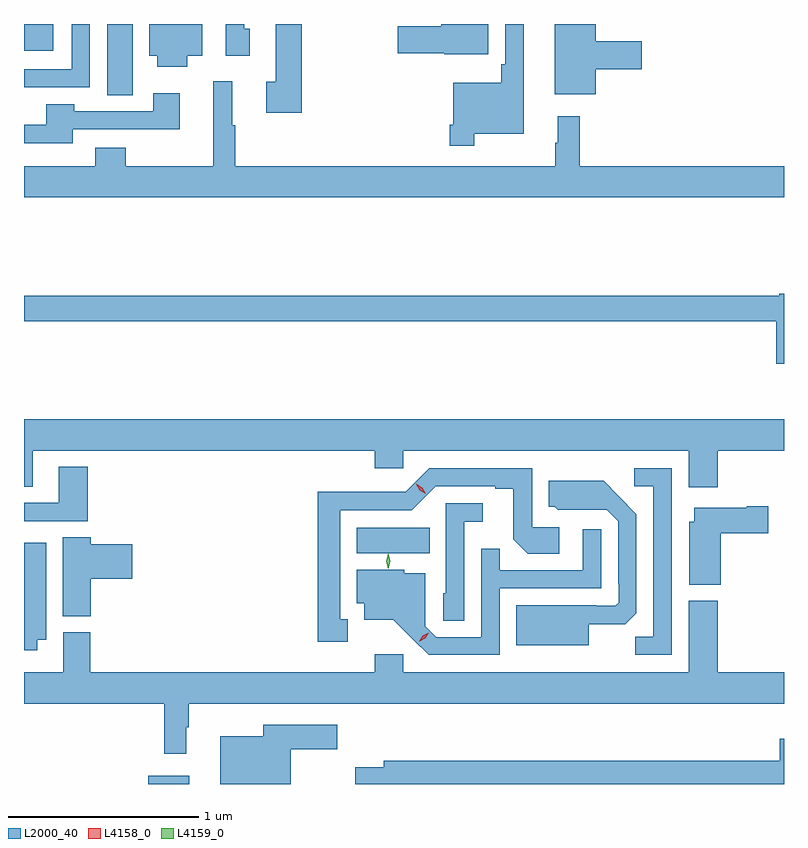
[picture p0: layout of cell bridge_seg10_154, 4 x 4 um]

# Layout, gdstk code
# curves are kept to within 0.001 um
import gdstk
lib = gdstk.Library(unit=1e-6, precision=1e-09)
def R(c, l, rs):  # rectangles x0, y0, x1, y1
    for r in rs: c.add(gdstk.rectangle(r[:2], r[2:], *l))
def P(c, l, *ps):  # polygons
    for p in ps: c.add(gdstk.Polygon(p, *l))
L2000_40 = (2000, 40)
L4158_0 = (4158, 0)
L4159_0 = (4159, 0)

bridge_seg10_154 = lib.new_cell('bridge_seg10_154')
R(bridge_seg10_154, L2000_40, [(255.488,1305.221,255.703,1305.265), (256.586,1306.436,256.97,1306.57), (255.272,1308.847,255.406,1309.221), (254.834,1309.079,254.989,1309.221)])
P(bridge_seg10_154, L2000_40, [(256.021,1309.197),(255.993,1309.197),(255.993,1309.221),(255.897,1309.221),(255.897,1309.053),(256.021,1309.053)],
  [(255.18,1309.221),(255.084,1309.221),(255.084,1308.984),(254.834,1308.984),(254.834,1308.888),(255.18,1308.888)],
  [(255.694,1309.055),(255.772,1309.055),(255.772,1309.221),(255.494,1309.221),(255.494,1309.055),(255.536,1309.055),(255.536,1308.995),(255.694,1308.995)],
  [(256.295,1309.221),(256.16,1309.221),(256.16,1308.918),(256.109,1308.918),(256.109,1308.755),(256.295,1308.755)],
  [(257.842,1308.983),(258.085,1308.983),(258.085,1309.13),(257.842,1309.13),(257.842,1309.221),(257.627,1309.221),(257.627,1308.851),(257.842,1308.851)],
  [(257.203,1308.644),(257.464,1308.644),(257.464,1309.221),(257.367,1309.221),(257.367,1309.009),(257.347,1309.009),(257.347,1308.913),(257.094,1308.913),(257.094,1308.691),(257.074,1308.691),(257.074,1308.579),(257.203,1308.579)],
  [(257.278,1309.221),(257.029,1309.221),(257.029,1309.209),(256.8,1309.209),(256.8,1309.067),(257.046,1309.067),(257.046,1309.061),(257.278,1309.061)],
  [(258.834,1308.472),(257.759,1308.472),(257.759,1308.736),(257.642,1308.736),(257.642,1308.596),(257.631,1308.596),(257.631,1308.472),(255.947,1308.472),(255.947,1308.687),(255.929,1308.687),(255.929,1308.919),(255.83,1308.919),(255.83,1308.472),(255.369,1308.472),(255.369,1308.571),(255.209,1308.571),(255.209,1308.472),(254.834,1308.472),(254.834,1308.308),(258.834,1308.308)],
  [(255.091,1308.666),(255.655,1308.666),(255.655,1308.856),(255.515,1308.856),(255.515,1308.762),(255.099,1308.762),(255.099,1308.799),(254.951,1308.799),(254.951,1308.69),(254.834,1308.69),(254.834,1308.594),(255.091,1308.594)],
  [(258.834,1307.8),(258.81,1307.8),(258.81,1307.792),(254.834,1307.792),(254.834,1307.656),(258.794,1307.656),(258.794,1307.433),(258.834,1307.433)],
  [(258.485,1306.976),(258.834,1306.976),(258.834,1307.14),(254.834,1307.14),(254.834,1306.786),(254.881,1306.786),(254.881,1306.976),(256.679,1306.976),(256.679,1306.883),(256.83,1306.883),(256.83,1306.976),(258.332,1306.976),(258.332,1306.782),(258.485,1306.782)],
  [(255.17,1306.891),(255.017,1306.891),(255.017,1306.701),(254.834,1306.701),(254.834,1306.605),(255.17,1306.605)],
  [(256.537,1306.089),(256.498,1306.089),(256.498,1306.662),(256.875,1306.662),(257.001,1306.788),(257.315,1306.788),(257.315,1306.776),(257.409,1306.776),(257.409,1306.508),(257.485,1306.432),(257.65,1306.432),(257.65,1306.572),(257.508,1306.572),(257.508,1306.884),(256.968,1306.884),(256.842,1306.758),(256.62,1306.758),(256.62,1306.76),(256.38,1306.76),(256.38,1305.969),(256.537,1305.969)],
  [(258.243,1306.884),(258.045,1306.884),(258.045,1306.788),(258.147,1306.788),(258.147,1305.995),(258.052,1305.995),(258.052,1305.9),(258.243,1305.9)],
  [(257.806,1306.061),(257.998,1306.061),(258.057,1306.12),(258.057,1306.642),(257.885,1306.816),(257.597,1306.816),(257.597,1306.68),(257.628,1306.68),(257.644,1306.664),(257.901,1306.665),(257.961,1306.605),(257.961,1306.276),(257.964,1306.276),(257.964,1306.176),(257.946,1306.158),(257.846,1306.158),(257.846,1306.162),(257.426,1306.162),(257.426,1305.95),(257.806,1305.95)],
  [(257.151,1306.601),(257.248,1306.601),(257.248,1306.698),(257.055,1306.698),(257.055,1306.224),(257.04,1306.224),(257.04,1306.081),(257.151,1306.081)],
  [(258.502,1306.541),(258.751,1306.541),(258.751,1306.683),(258.638,1306.683),(258.638,1306.675),(258.362,1306.675),(258.362,1306.602),(258.335,1306.602),(258.335,1306.271),(258.502,1306.271)],
  [(257.337,1306.251),(257.871,1306.251),(257.871,1306.561),(257.775,1306.561),(257.775,1306.347),(257.339,1306.347),(257.339,1306.46),(257.241,1306.46),(257.241,1305.993),(257.004,1305.993),(256.947,1306.05),(256.947,1306.33),(256.836,1306.33),(256.836,1306.348),(256.586,1306.348),(256.586,1306.172),(256.625,1306.172),(256.625,1306.085),(256.777,1306.085),(256.964,1305.9),(257.337,1305.9)],
  [(255.185,1306.301),(255.403,1306.301),(255.403,1306.484),(255.185,1306.484),(255.185,1306.52),(255.038,1306.52),(255.038,1306.105),(255.185,1306.105)],
  [(254.905,1305.98),(254.95,1305.98),(254.95,1306.492),(254.834,1306.492),(254.834,1305.924),(254.905,1305.924)],
  [(255.688,1305.521),(255.7,1305.521),(255.7,1305.644),(258.834,1305.644),(258.834,1305.808),(258.485,1305.808),(258.485,1306.186),(258.332,1306.186),(258.332,1305.808),(256.83,1305.808),(256.83,1305.904),(256.679,1305.904),(256.679,1305.808),(255.182,1305.808),(255.182,1306.02),(255.041,1306.02),(255.041,1305.808),(254.834,1305.808),(254.834,1305.644),(255.571,1305.644),(255.571,1305.381),(255.688,1305.381)],
  [(256.237,1305.403),(256.483,1305.403),(256.483,1305.532),(256.094,1305.532),(256.094,1305.472),(255.866,1305.472),(255.866,1305.221),(256.237,1305.221)],
  [(258.834,1305.458),(258.812,1305.458),(258.812,1305.343),(256.727,1305.343),(256.727,1305.309),(256.578,1305.309),(256.578,1305.221),(258.834,1305.221)])
P(bridge_seg10_154, L4158_0, [(256.915,1305.972),(256.915,1305.972),(256.932,1306.002),(256.963,1306.017),(256.963,1306.017),(256.963,1306.017),(256.946,1305.987),(256.916,1305.972)],
  [(256.948,1306.749),(256.916,1306.767),(256.898,1306.799),(256.898,1306.8),(256.898,1306.8),(256.93,1306.781),(256.948,1306.749),(256.948,1306.749)])
P(bridge_seg10_154, L4159_0, [(256.75,1306.354),(256.75,1306.354),(256.741,1306.394),(256.751,1306.434),(256.751,1306.434),(256.752,1306.434),(256.761,1306.394),(256.75,1306.354)])

lib.write_gds('bridge_seg10_154.gds')
